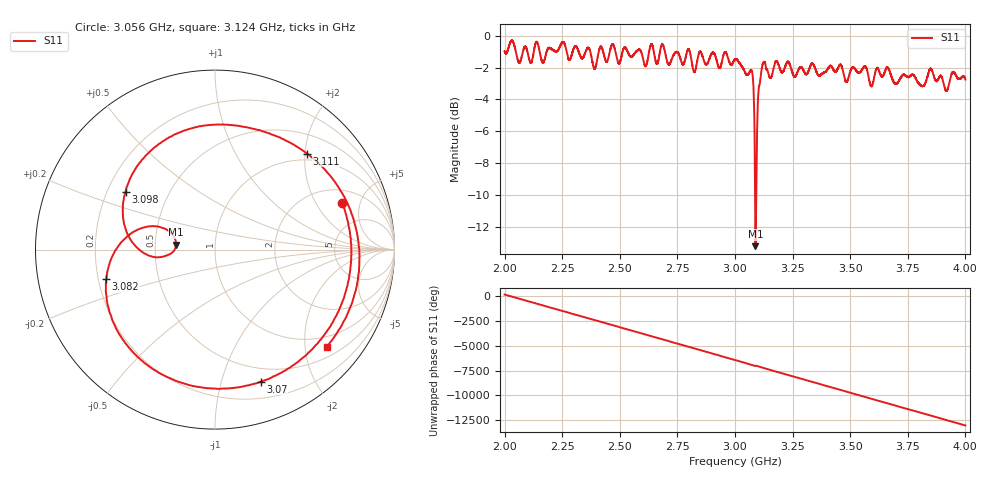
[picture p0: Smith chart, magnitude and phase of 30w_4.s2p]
!Agilent Technologies,E8362B,MY43021131,A.07.50.67
!Agilent E8362B: A.07.50.67
!Date: Thursday, March 14, 2024 14:15:37
!Correction: S11(Off)
!S21(Off)
!S12(Off)
!S22(Off)
!S2P File: Measurements: S11, S21, S12, S22:
# Hz S  RI  R 50
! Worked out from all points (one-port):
!   20001 points, 2 GHz to 4 GHz, reference 50 ohm
!   lowest |S11| = -13.2 dB at 3.089 GHz (marker M1), VSWR 1.56, Z = 32.1 + j1.81 ohm
!   |S11| at or under -10 dB: 3.087069 GHz to 3.092331 GHz (5.262 MHz wide, 0.17 % of centre)
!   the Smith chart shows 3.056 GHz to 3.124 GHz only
!   S11 on the Smith chart (normalised r, x): 3.056 GHz: 2.84, +3.42; 3.07 GHz: 0.36, -1.34; 3.082 GHz: 0.23, -0.13; 3.098 GHz: 0.28, +0.28; 3.111 GHz: 0.86, +2.04; 3.124 GHz: 0.73, -2.48
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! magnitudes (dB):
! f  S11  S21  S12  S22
! 2 GHz  -1.0  -  -  -
! 2.333 GHz  -1.4  -  -  -
! 2.667 GHz  -1.6  -  -  -
! 3 GHz  -1.5  -  -  -
! 3.056 GHz  -2.4  -  -  -
! 3.07 GHz  -2.2  -  -  -
! 3.076 GHz  -2.4  -  -  -
! 3.082 GHz  -4.0  -  -  -
! 3.089 GHz  -13.2  -  -  -
! 3.098 GHz  -4.5  -  -  -
! 3.104 GHz  -3.2  -  -  -
! 3.111 GHz  -2.6  -  -  -
! 3.124 GHz  -1.7  -  -  -
! 3.333 GHz  -1.8  -  -  -
! 3.484 GHz  -2.9  -  -  -
! 3.563 GHz  -1.9  -  -  -
! 3.592 GHz  -3.2  -  -  -
! 3.667 GHz  -2.1  -  -  -
! 3.813 GHz  -3.2  -  -  -
! 3.85 GHz  -2.1  -  -  -
! 3.917 GHz  -3.5  -  -  -
! 4 GHz  -2.8  -  -  -
